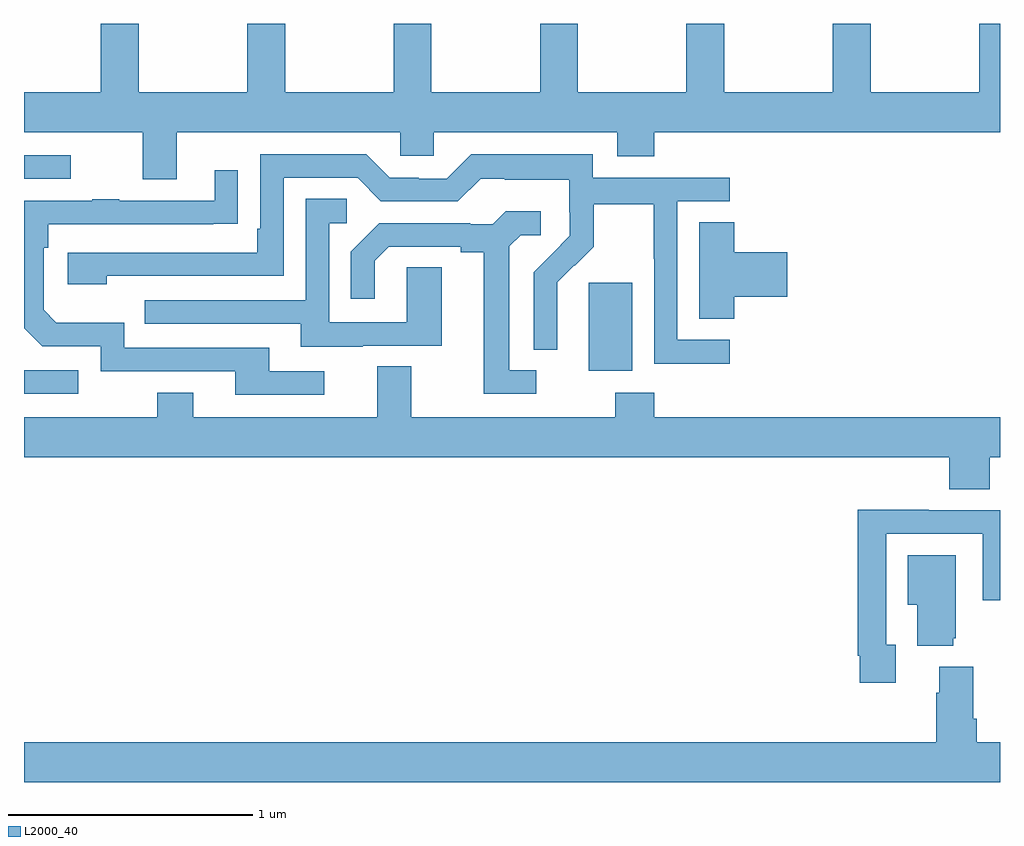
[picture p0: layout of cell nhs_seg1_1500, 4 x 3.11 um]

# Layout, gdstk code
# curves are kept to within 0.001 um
import gdstk
lib = gdstk.Library(unit=1e-6, precision=1e-09)
def R(c, l, rs):  # rectangles x0, y0, x1, y1
    for r in rs: c.add(gdstk.rectangle(r[:2], r[2:], *l))
def P(c, l, *ps):  # polygons
    for p in ps: c.add(gdstk.Polygon(p, *l))
L2000_40 = (2000, 40)

nhs_seg1_1500 = lib.new_cell('nhs_seg1_1500')
R(nhs_seg1_1500, L2000_40, [(193,526.683,193.222,526.779), (195.314,526.778,195.493,527.139), (193,527.565,193.192,527.661)])
P(nhs_seg1_1500, L2000_40, [(193.627,527.756),(194.541,527.756),(194.541,527.658),(194.679,527.658),(194.679,527.756),(195.431,527.756),(195.431,527.657),(195.584,527.657),(195.584,527.756),(197,527.756),(197,528.199),(196.915,528.199),(196.915,527.92),(196.47,527.92),(196.47,528.199),(196.315,528.199),(196.315,527.92),(195.87,527.92),(195.87,528.199),(195.715,528.199),(195.715,527.92),(195.27,527.92),(195.27,528.199),(195.115,528.199),(195.115,527.92),(194.67,527.92),(194.67,528.199),(194.515,528.199),(194.515,527.92),(194.07,527.92),(194.07,528.199),(193.915,528.199),(193.915,527.92),(193.47,527.92),(193.47,528.199),(193.315,528.199),(193.315,527.92),(193,527.92),(193,527.756),(193.487,527.756),(193.487,527.562),(193.627,527.562)],
  [(195.892,526.905),(195.678,526.905),(195.678,527.472),(195.892,527.472),(195.892,527.568),(195.33,527.568),(195.33,527.665),(194.833,527.665),(194.733,527.565),(194.618,527.565),(194.618,527.568),(194.499,527.568),(194.403,527.664),(193.968,527.664),(193.968,527.359),(193.955,527.359),(193.955,527.262),(193.179,527.262),(193.179,527.132),(193.34,527.132),(193.34,527.166),(194.064,527.166),(194.064,527.568),(194.367,527.568),(194.463,527.472),(194.778,527.472),(194.871,527.565),(194.971,527.565),(194.971,527.561),(195.234,527.561),(195.234,527.427),(195.236,527.427),(195.236,527.33),(195.09,527.182),(195.09,526.864),(195.186,526.864),(195.185,527.141),(195.255,527.211),(195.258,527.208),(195.335,527.285),(195.335,527.46),(195.58,527.46),(195.58,527.236),(195.582,527.236),(195.582,526.807),(195.892,526.807)],
  [(194.23,526.776),(194.005,526.776),(194.005,526.872),(193.41,526.872),(193.41,526.975),(193.133,526.975),(193.08,527.028),(193.08,527.282),(193.1,527.282),(193.1,527.379),(193.877,527.38),(193.877,527.599),(193.781,527.599),(193.781,527.475),(193.391,527.475),(193.391,527.48),(193.279,527.48),(193.279,527.475),(193,527.475),(193,526.952),(193.074,526.878),(193.314,526.878),(193.314,526.776),(193.865,526.776),(193.865,526.68),(194.23,526.68)],
  [(194.389,526.881),(194.713,526.881),(194.713,527.201),(194.568,527.201),(194.568,526.977),(194.25,526.977),(194.25,527.382),(194.323,527.382),(194.323,527.483),(194.154,527.483),(194.154,527.067),(193.495,527.067),(193.495,526.971),(194.135,526.971),(194.135,526.877),(194.389,526.877)],
  [(195.1,526.779),(194.989,526.779),(194.989,527.287),(195.036,527.334),(195.118,527.334),(195.118,527.431),(194.974,527.431),(194.922,527.379),(194.828,527.379),(194.828,527.382),(194.456,527.382),(194.34,527.266),(194.34,527.073),(194.437,527.073),(194.437,527.229),(194.494,527.286),(194.789,527.286),(194.789,527.264),(194.885,527.264),(194.885,526.683),(195.1,526.683)],
  [(195.911,527.081),(196.129,527.081),(196.129,527.264),(195.911,527.264),(195.911,527.387),(195.767,527.387),(195.767,526.99),(195.911,526.99)],
  [(196.958,526.424),(197,526.424),(197,526.588),(195.584,526.588),(195.584,526.687),(195.424,526.687),(195.424,526.588),(194.587,526.588),(194.587,526.796),(194.447,526.796),(194.447,526.588),(193.693,526.588),(193.693,526.687),(193.546,526.687),(193.546,526.588),(193,526.588),(193,526.424),(196.793,526.424),(196.793,526.291),(196.958,526.291)],
  [(196.573,525.654),(196.533,525.654),(196.533,526.11),(196.929,526.11),(196.929,525.837),(197,525.837),(197,526.206),(196.709,526.206),(196.709,526.208),(196.417,526.208),(196.417,525.61),(196.425,525.61),(196.425,525.498),(196.573,525.498)],
  [(196.808,525.681),(196.819,525.681),(196.819,526.021),(196.622,526.021),(196.622,525.818),(196.661,525.818),(196.661,525.65),(196.808,525.65)],
  [(197,525.256),(196.904,525.256),(196.904,525.352),(196.891,525.352),(196.891,525.565),(196.751,525.565),(196.751,525.458),(196.739,525.458),(196.739,525.256),(193,525.256),(193,525.092),(197,525.092)])

lib.write_gds('nhs_seg1_1500.gds')
